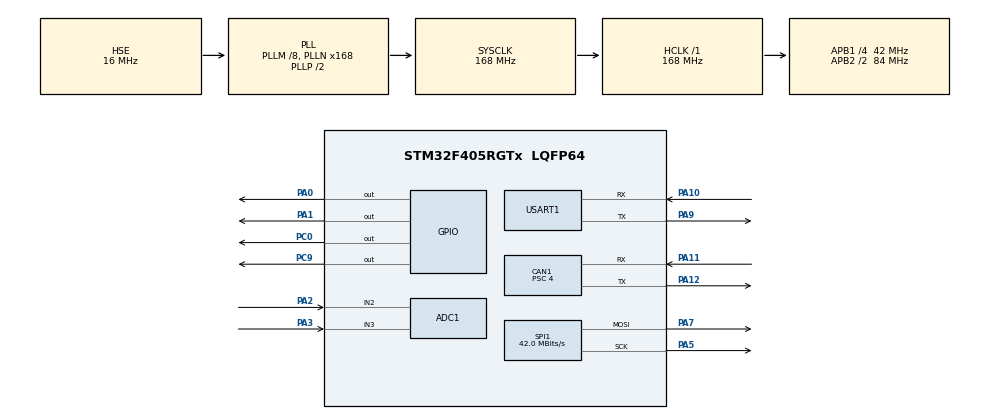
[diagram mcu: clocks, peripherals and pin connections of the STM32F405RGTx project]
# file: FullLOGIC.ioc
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ADC1.Channel-0\#ChannelRegularConversion=ADC_CHANNEL_2
ADC1.Channel-1\#ChannelRegularConversion=ADC_CHANNEL_3
ADC1.ContinuousConvMode=ENABLE
ADC1.DMAContinuousRequests=ENABLE
ADC1.NbrOfConversion=2
ADC1.NbrOfConversionFlag=1
ADC1.Rank-0\#ChannelRegularConversion=1
ADC1.Rank-1\#ChannelRegularConversion=2
ADC1.SamplingTime-0\#ChannelRegularConversion=ADC_SAMPLETIME_84CYCLES
ADC1.SamplingTime-1\#ChannelRegularConversion=ADC_SAMPLETIME_84CYCLES
ADC1.master=1
CAN1.BS1=CAN_BS1_16TQ
CAN1.BS2=CAN_BS2_4TQ
CAN1.CalculateBaudRate=500000
CAN1.CalculateTimeBit=2000
CAN1.CalculateTimeQuantum=95.23809523809524
CAN1.Prescaler=4
Dma.ADC1.0.Direction=DMA_PERIPH_TO_MEMORY
Dma.ADC1.0.FIFOMode=DMA_FIFOMODE_DISABLE
Dma.ADC1.0.Instance=DMA2_Stream0
Dma.ADC1.0.MemDataAlignment=DMA_MDATAALIGN_HALFWORD
Dma.ADC1.0.MemInc=DMA_MINC_ENABLE
Dma.ADC1.0.Mode=DMA_CIRCULAR
Dma.ADC1.0.PeriphDataAlignment=DMA_PDATAALIGN_HALFWORD
Dma.ADC1.0.PeriphInc=DMA_PINC_DISABLE
Dma.ADC1.0.Priority=DMA_PRIORITY_VERY_HIGH
Dma.Request0=ADC1
Mcu.Family=STM32F4
Mcu.Name=STM32F405RGTx
Mcu.Package=LQFP64
NVIC.ADC_IRQn=true\:0\:0\:false\:false\:true\:true\:true\:true
NVIC.CAN1_RX0_IRQn=true\:0\:0\:false\:false\:true\:true\:true\:true
NVIC.DMA2_Stream0_IRQn=true\:0\:0\:false\:false\:true\:false\:true\:true
NVIC.PriorityGroup=NVIC_PRIORITYGROUP_4
PA0-WKUP.Signal=GPIO_Output
PA1.Signal=GPIO_Output
PA10.Mode=Asynchronous
PA10.Signal=USART1_RX
PA11.Mode=CAN_Activate
PA11.Signal=CAN1_RX
PA12.Mode=CAN_Activate
PA12.Signal=CAN1_TX
PA2.Signal=ADCx_IN2
PA3.Signal=ADCx_IN3
PA5.Mode=TX_Only_Simplex_Unidirect_Master
PA5.Signal=SPI1_SCK
PA7.Mode=TX_Only_Simplex_Unidirect_Master
PA7.Signal=SPI1_MOSI
PA9.Mode=Asynchronous
PA9.Signal=USART1_TX
PC0.Signal=GPIO_Output
PC9.Signal=GPIO_Output
PH0-OSC_IN.Mode=HSE-External-Oscillator
PH0-OSC_IN.Signal=RCC_OSC_IN
PH1-OSC_OUT.Mode=HSE-External-Oscillator
PH1-OSC_OUT.Signal=RCC_OSC_OUT
ProjectManager.HeapSize=0x200
ProjectManager.StackSize=0x400
ProjectManager.TargetToolchain=STM32CubeIDE
RCC.48MHZClocksFreq_Value=84000000
RCC.AHBFreq_Value=168000000
RCC.APB1CLKDivider=RCC_HCLK_DIV4
RCC.APB1Freq_Value=42000000
RCC.APB1TimFreq_Value=84000000
RCC.APB2CLKDivider=RCC_HCLK_DIV2
RCC.APB2Freq_Value=84000000
RCC.APB2TimFreq_Value=168000000
RCC.CortexFreq_Value=168000000
RCC.HCLKFreq_Value=168000000
RCC.HSE_VALUE=16000000
RCC.HSI_VALUE=16000000
RCC.LSE_VALUE=32768
RCC.PLLM=8
RCC.PLLN=168
RCC.PLLSourceVirtual=RCC_PLLSOURCE_HSE
RCC.SYSCLKFreq_VALUE=168000000
RCC.SYSCLKSource=RCC_SYSCLKSOURCE_PLLCLK
RCC.VCOOutputFreq_Value=336000000
SH.ADCx_IN2.0=ADC1_IN2,IN2
SH.ADCx_IN3.0=ADC1_IN3,IN3
SPI1.CalculateBaudRate=42.0 MBits/s
SPI1.Direction=SPI_DIRECTION_2LINES
SPI1.Mode=SPI_MODE_MASTER
SPI1.VirtualType=VM_MASTER
USART1.VirtualMode=VM_ASYNC
board=custom

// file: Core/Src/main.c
/* USER CODE BEGIN Header */
/**
  ******************************************************************************
  * @file           : main.c
  * @brief          : Main program body
  ******************************************************************************
  * @attention
  *
  * Copyright (c) 2025 STMicroelectronics.
  * All rights reserved.
  *
  * This software is licensed under terms that can be found in the LICENSE file
  * in the root directory of this software component.
  * If no LICENSE file comes with this software, it is provided AS-IS.
  *
  ******************************************************************************
  */
/* USER CODE END Header */
#include "main.h"
#include <stdio.h>
#include <string.h>

/* USER CODE BEGIN PM */

// GPIO definitions
#define LED_PORT       GPIOC
#define LED_PIN        GPIO_PIN_0
#define DAC1_CS_PORT   GPIOA      //3
#define DAC1_CS_PIN    GPIO_PIN_0 //3
#define DAC2_CS_PORT   GPIOA	  //4
#define DAC2_CS_PIN    GPIO_PIN_1 //4
#define MUX_EN_PORT    GPIOC
#define MUX_EN_PIN     GPIO_PIN_9

// ADC Parameters
#define ADC_REF_VOLTAGE 3.3f
#define ADC_RESOLUTION  4095.0f

// DAC Parameters
#define DAC_REF_VOLTAGE 4.5f
#define DAC_RESOLUTION  4095.0f

// Speed amd CAN related parameters
#define SPEED_CAN_ID   		  0x7E8
#define SPEED_THRESHOLD_KMH   20
#define SPEED_FADE_RANGE_KMH  10

//Pedal processing parameters
#define VoltageRestoreFactor 2.0f
#define preproccsing_percent_current_voltage_Max 1.0f
#define preproccsing_percent_current_voltage_Min 0.0f

//Scaling Factor limits
#define Scale_Factor_Max 1.0f
#define Scale_Factor_Min 0.0f

//DAC BIAS
#define DACBIAS 1.3

/* USER CODE END PM */

ADC_HandleTypeDef hadc1;
DMA_HandleTypeDef hdma_adc1;

CAN_HandleTypeDef hcan1;

SPI_HandleTypeDef hspi1;

UART_HandleTypeDef huart1;

/* USER CODE BEGIN PV */
// CAN reception
CAN_RxHeaderTypeDef RxHeader;
uint8_t RxData[8];
volatile uint16_t CarSpeed = 0;
volatile uint32_t lastCanMsgTick = 0;

// UART buffer
char uartBuffer[100];

// ADC raw values
volatile uint16_t adc_buf[2];

// Pedal channel limits
float PEDAL_CH1_VMIN = 1.56f;  // (IN4)
float PEDAL_CH1_VMAX = 4.435f; // (IN4)
float PEDAL_CH2_VMIN = 0.769f; // (IN3)
float PEDAL_CH2_VMAX = 3.644f; // (IN3)
/* USER CODE END PV */

void SystemClock_Config(void);
static void MX_GPIO_Init(void);
static void MX_DMA_Init(void);
static void MX_ADC1_Init(void);
static void MX_CAN1_Init(void);
static void MX_SPI1_Init(void);
static void MX_USART1_UART_Init(void);
/* USER CODE BEGIN PFP */
void CAN_Filter_Config(void);
void ProcessSpeedMessage(CAN_RxHeaderTypeDef *rxHeader, uint8_t *rxData);
void UART_SendString(char *str);
/* USER CODE END PFP */

/* USER CODE BEGIN 0 */

// CAN Messages filter
void CAN_Filter_Config(void)
{
	UART_SendString("1\r\n");
    CAN_FilterTypeDef sFilterConfig;

    // Configure filter for speed messages only
    sFilterConfig.FilterBank = 0;                           // Use filter bank 0
    sFilterConfig.FilterMode = CAN_FILTERMODE_IDMASK;       // Use ID + Mask mode
    sFilterConfig.FilterScale = CAN_FILTERSCALE_32BIT;      // 32-bit filter
    sFilterConfig.FilterIdHigh = (SPEED_CAN_ID << 5);       //
    sFilterConfig.FilterIdLow = 0x0000;
    sFilterConfig.FilterMaskIdHigh = (0x7FF << 5);          // Mask for exact ID match (standard 11-bit ID)
    sFilterConfig.FilterMaskIdLow = 0x0000;
    sFilterConfig.FilterFIFOAssignment = CAN_RX_FIFO0;      // Assign to FIFO0
    sFilterConfig.FilterActivation = ENABLE;                // Enable the filter

    // Apply filter configuration
    if (HAL_CAN_ConfigFilter(&hcan1, &sFilterConfig) != HAL_OK)
    {
        Error_Handler();
    }
    UART_SendString("2\r\n");
}

// OBD-II PID Speed Request
void RequestSpeed(){

	CAN_TxHeaderTypeDef TxHeader;
	uint8_t TxData[8] = {0x02, 0x01, 0x0D, 0x00, 0x00, 0x00, 0x00, 0x00};
	uint32_t TxMailbox;

	TxHeader.StdId = 0x7DF;
	TxHeader.ExtId = 0x00;
	TxHeader.IDE = CAN_ID_STD;
	TxHeader.RTR = CAN_RTR_DATA;
	TxHeader.DLC = 8;

    if (HAL_CAN_AddTxMessage(&hcan1, &TxHeader, TxData, &TxMailbox) != HAL_OK)
    {
        Error_Handler();
    }

}

// Speed extraction
void ProcessSpeedMessage(CAN_RxHeaderTypeDef *rxHeader, uint8_t *rxData)
{
	if (rxHeader->StdId == SPEED_CAN_ID) {
		CarSpeed = rxData[3];
        // Format message for UART
        snprintf(uartBuffer, sizeof(uartBuffer),
                "Message Received!\r\nID: 0x%03lX\r\nData: %02X %02X %02X %02X %02X %02X %02X %02X\r\n\r\n Speed:%02X\r\n",
                rxHeader->StdId,
                rxData[0], rxData[1], rxData[2], rxData[3],
                rxData[4], rxData[5], rxData[6], rxData[7],
				rxData[3]);

        // Send to UART
        UART_SendString(uartBuffer);

	}

}

//CAN Response upon interrupt callback
void HAL_CAN_RxFifo0MsgPendingCallback(CAN_HandleTypeDef *hcan)
{

    if (HAL_CAN_GetRxMessage(hcan, CAN_RX_FIFO0, &RxHeader, RxData) == HAL_OK)
    {
        ProcessSpeedMessage(&RxHeader, RxData);

    }
}

// Write 12-bit value to DAC via SPI
void DAC_Write(GPIO_TypeDef *cs_port, uint16_t cs_pin, uint16_t value)
{
    value &= 0x0FFF;    // ensure 12-bit value
    uint16_t word = value | (0x0 << 12); // DAC121S101 expects data in lower 12 bits

    uint8_t data[2];
    data[0] = (word >> 8) & 0xFF;
    data[1] = word & 0xFF;

    HAL_GPIO_WritePin(cs_port, cs_pin, GPIO_PIN_RESET); // CS LOW
    HAL_SPI_Transmit(&hspi1, data, 2, HAL_MAX_DELAY);
    snprintf(uartBuffer, sizeof(uartBuffer),
             "DAC%d Write: Code=%u | data[0] = %X  | data[1] = %X  \r\n\n",
             (cs_pin == DAC1_CS_PIN) ? 1 : 2,
             value, data[0], data[1]);
    UART_SendString(uartBuffer);

    HAL_GPIO_WritePin(cs_port, cs_pin, GPIO_PIN_SET);
}

//Function to test DAC stand-alone
/*void TestDAC(void) {

    // Test DAC1
    DAC_Write(DAC2_CS_PORT, DAC2_CS_PIN, 2048);  // ~50%   BLACK (MIDDLE) is DAC2 - OUT4
    DAC_Write(DAC1_CS_PORT, DAC1_CS_PIN, 4095);  // ~100%  WHITE (SIDE)   is DAC1 - OUT3

}*/

// Convert ADC value to normalized pedal percentage
float ReadPedalPercent(uint16_t adc_value, float voltage_min, float voltage_max){

	float preproccsing_current_voltage_divided = ((float)adc_value / ADC_RESOLUTION)*ADC_REF_VOLTAGE;
	float preproccsing_current_voltage = preproccsing_current_voltage_divided * VoltageRestoreFactor; //To restore what voltage divider effect
	float preproccsing_percent_current_voltage = (preproccsing_current_voltage - voltage_min) / (voltage_max - voltage_min);

	snprintf(uartBuffer, sizeof(uartBuffer),
	         "ADC(code)=%u | Vin(raw)=%.2f V | Vin(restored)=%.2f V | Percent=%.8f%%\r\n\n",
	         adc_value,
			 preproccsing_current_voltage_divided,
	         preproccsing_current_voltage,
	         preproccsing_percent_current_voltage);
	UART_SendString(uartBuffer);

	//CLAMPING
    // if (preproccsing_percent_current_voltage <preproccsing_percent_current_voltage_Min) preproccsing_percent_current_voltage = preproccsing_percent_current_voltage_Min;
    // if (preproccsing_percent_current_voltage > preproccsing_percent_current_voltage_Max) preproccsing_percent_current_voltage = preproccsing_percent_current_voltage_Max;

    return preproccsing_percent_current_voltage;
}

// Convert pedal percentage to DAC output code
uint16_t PercentToDACValue(float percent, float voltage_min, float voltage_max) {

    float afterprocessing_voltage = voltage_min + (percent * (voltage_max - voltage_min)); //Percentage to voltage
    uint16_t dac_value = (uint16_t)((afterprocessing_voltage / DAC_REF_VOLTAGE) * DAC_RESOLUTION); //DAC expects digital value - Vref is 4.5 V

    snprintf(uartBuffer, sizeof(uartBuffer),
             "Attenuated=%.2f%% | Vout=%.2f V | DAC Code=%u\r\n\n",
             percent,
             afterprocessing_voltage,
             dac_value);
    UART_SendString(uartBuffer);

    //CLAMPING
    // if (dac_value > ADC_RESOLUTION ) dac_value = ADC_RESOLUTION ;
    return dac_value;
}

// Apply pedal attenuation based on vehicle speed
void AttenuationFunction(void){
	float scale_factor;
	float percent1, percent2, output_percent1, output_percent2;

	percent1 = ReadPedalPercent(adc_buf[0], PEDAL_CH1_VMIN, PEDAL_CH1_VMAX); // 4 //Converts the raw value from adc to percentage
	percent2 = ReadPedalPercent(adc_buf[1], PEDAL_CH2_VMIN, PEDAL_CH2_VMAX); // 3 //Converts the raw value from adc to percentage

    if(CarSpeed >= SPEED_THRESHOLD_KMH) {
    	HAL_GPIO_WritePin(MUX_EN_PORT, MUX_EN_PIN, GPIO_PIN_SET);
        float overspeed = CarSpeed - SPEED_THRESHOLD_KMH;

        scale_factor = Scale_Factor_Max - (overspeed / (float)SPEED_FADE_RANGE_KMH);

        	if (scale_factor < Scale_Factor_Min) scale_factor = Scale_Factor_Min;

        output_percent1 = percent1 * scale_factor;

        output_percent2 = percent2 * scale_factor;

    } else {
    	HAL_GPIO_WritePin(MUX_EN_PORT, MUX_EN_PIN, GPIO_PIN_RESET);
        //output_percent1 = percent1; //4

        //output_percent2 = percent2; //3

    }

    snprintf(uartBuffer, sizeof(uartBuffer),
              "P1 In:%.8f Out (4):%.8f | P2 In:%.8f Out (3):%.8f\r\n",
              percent1, output_percent1, percent2, output_percent2);
    UART_SendString(uartBuffer);

    uint16_t dac_value_1 = PercentToDACValue(output_percent1, PEDAL_CH1_VMIN, PEDAL_CH1_VMAX); //Converts percentage back to analog //4
    uint16_t dac_value_2 = PercentToDACValue(output_percent2, PEDAL_CH2_VMIN, PEDAL_CH2_VMAX); //Converts percentage back to analog //3

    snprintf(uartBuffer, sizeof(uartBuffer),
              "DAC_VALUE1:%u | DAC_VALUE2:%u\r\n",
			  dac_value_1, dac_value_2);
    UART_SendString(uartBuffer);

    DAC_Write(DAC2_CS_PORT, DAC2_CS_PIN, dac_value_1); // dac2_cs_port for dac_value_1 - in4 - out4 - ch1 //4
    DAC_Write(DAC1_CS_PORT, DAC1_CS_PIN, dac_value_2); // dac1_cs_port for dac_value_2 - in3 - out3 - ch2 //3

}

void UART_SendString(char *str)
{
    HAL_UART_Transmit(&huart1, (uint8_t*)str, strlen(str), HAL_MAX_DELAY);
}

/* USER CODE END 0 */

int main(void)
{

  /* MCU Configuration--------------------------------------------------------*/

  /* Reset of all peripherals, Initializes the Flash interface and the Systick. */
  HAL_Init();

  /* Configure the system clock */
  SystemClock_Config();

  /* Initialize all configured peripherals */
  MX_GPIO_Init();
  HAL_GPIO_WritePin(LED_PORT, LED_PIN, GPIO_PIN_SET);
  MX_DMA_Init();
  MX_ADC1_Init();
  MX_CAN1_Init();
  MX_SPI1_Init();
  MX_USART1_UART_Init();
  /* USER CODE BEGIN 2 */
  CAN_Filter_Config();

  if (HAL_CAN_Start(&hcan1) != HAL_OK) //Starts CAN peripheral
  {
      Error_Handler();
  }

  if (HAL_CAN_ActivateNotification(&hcan1, CAN_IT_RX_FIFO0_MSG_PENDING) != HAL_OK) //Enable interrupts
  {
      Error_Handler();
  }
  HAL_GPIO_WritePin(MUX_EN_PORT, MUX_EN_PIN, GPIO_PIN_SET);
  HAL_GPIO_WritePin(DAC1_CS_PORT, DAC1_CS_PIN, GPIO_PIN_SET);
  HAL_GPIO_WritePin(DAC2_CS_PORT, DAC2_CS_PIN, GPIO_PIN_SET);
  UART_SendString("Befor ADC dual channel Config\r\n");

  HAL_ADC_Start_DMA(&hadc1, (uint32_t*)adc_buf, 2);
  UART_SendString("After ADC dual channel Config\r\n");

  /* USER CODE END 2 */

  /* Infinite loop */
  while (1)
  {
	  	//TestDAC();
		RequestSpeed();
		HAL_Delay(100); //Sending too fast causes STM CAN to fault out.
	    //Check if CAN messages stopped coming
		/*if (HAL_GetTick() - lastCanMsgTick > 500)  // 500ms timeout
		{
		    CarSpeed = 0;   // fallback to 0 km/h
		}*/

		AttenuationFunction();
  }
}

void SystemClock_Config(void)
{
  RCC_OscInitTypeDef RCC_OscInitStruct = {0};
  RCC_ClkInitTypeDef RCC_ClkInitStruct = {0};

  /** Configure the main internal regulator output voltage
  */
  __HAL_RCC_PWR_CLK_ENABLE();
  __HAL_PWR_VOLTAGESCALING_CONFIG(PWR_REGULATOR_VOLTAGE_SCALE1);

  /** Initializes the RCC Oscillators according to the specified parameters
  * in the RCC_OscInitTypeDef structure.
  */
  RCC_OscInitStruct.OscillatorType = RCC_OSCILLATORTYPE_HSE;
  RCC_OscInitStruct.HSEState = RCC_HSE_ON;
  RCC_OscInitStruct.PLL.PLLState = RCC_PLL_ON;
  RCC_OscInitStruct.PLL.PLLSource = RCC_PLLSOURCE_HSE;
  RCC_OscInitStruct.PLL.PLLM = 8;
  RCC_OscInitStruct.PLL.PLLN = 168;
  RCC_OscInitStruct.PLL.PLLP = RCC_PLLP_DIV2;
  RCC_OscInitStruct.PLL.PLLQ = 4;
  if (HAL_RCC_OscConfig(&RCC_OscInitStruct) != HAL_OK)
  {
    Error_Handler();
  }

  /** Initializes the CPU, AHB and APB buses clocks
  */
  RCC_ClkInitStruct.ClockType = RCC_CLOCKTYPE_HCLK|RCC_CLOCKTYPE_SYSCLK
                              |RCC_CLOCKTYPE_PCLK1|RCC_CLOCKTYPE_PCLK2;
  RCC_ClkInitStruct.SYSCLKSource = RCC_SYSCLKSOURCE_PLLCLK;
  RCC_ClkInitStruct.AHBCLKDivider = RCC_SYSCLK_DIV1;
  RCC_ClkInitStruct.APB1CLKDivider = RCC_HCLK_DIV4;
  RCC_ClkInitStruct.APB2CLKDivider = RCC_HCLK_DIV2;

  if (HAL_RCC_ClockConfig(&RCC_ClkInitStruct, FLASH_LATENCY_5) != HAL_OK)
  {
    Error_Handler();
  }
}

static void MX_ADC1_Init(void)
{

  ADC_ChannelConfTypeDef sConfig = {0};

  /** Configure the global features of the ADC (Clock, Resolution, Data Alignment and number of conversion)
  */
  hadc1.Instance = ADC1;
  hadc1.Init.ClockPrescaler = ADC_CLOCK_SYNC_PCLK_DIV4;
  hadc1.Init.Resolution = ADC_RESOLUTION_12B;
  hadc1.Init.ScanConvMode = ENABLE;
  hadc1.Init.ContinuousConvMode = ENABLE;
  hadc1.Init.DiscontinuousConvMode = DISABLE;
  hadc1.Init.ExternalTrigConvEdge = ADC_EXTERNALTRIGCONVEDGE_NONE;
  hadc1.Init.ExternalTrigConv = ADC_SOFTWARE_START;
  hadc1.Init.DataAlign = ADC_DATAALIGN_RIGHT;
  hadc1.Init.NbrOfConversion = 2;
  hadc1.Init.DMAContinuousRequests = ENABLE;
  hadc1.Init.EOCSelection = ADC_EOC_SINGLE_CONV;
  if (HAL_ADC_Init(&hadc1) != HAL_OK)
  {
    Error_Handler();
  }

  /** Configure for the selected ADC regular channel its corresponding rank in the sequencer and its sample time.
  */
  sConfig.Channel = ADC_CHANNEL_2;
  sConfig.Rank = 1;
  sConfig.SamplingTime = ADC_SAMPLETIME_84CYCLES;
  if (HAL_ADC_ConfigChannel(&hadc1, &sConfig) != HAL_OK)
  {
    Error_Handler();
  }

  /** Configure for the selected ADC regular channel its corresponding rank in the sequencer and its sample time.
  */
  sConfig.Channel = ADC_CHANNEL_3;
  sConfig.Rank = 2;
  if (HAL_ADC_ConfigChannel(&hadc1, &sConfig) != HAL_OK)
  {
    Error_Handler();
  }

}

static void MX_CAN1_Init(void)
{

  hcan1.Instance = CAN1;
  hcan1.Init.Prescaler = 4;
  hcan1.Init.Mode = CAN_MODE_NORMAL;
  hcan1.Init.SyncJumpWidth = CAN_SJW_1TQ;
  hcan1.Init.TimeSeg1 = CAN_BS1_16TQ;
  hcan1.Init.TimeSeg2 = CAN_BS2_4TQ;
  hcan1.Init.TimeTriggeredMode = DISABLE;
  hcan1.Init.AutoBusOff = DISABLE;
  hcan1.Init.AutoWakeUp = DISABLE;
  hcan1.Init.AutoRetransmission = DISABLE;
  hcan1.Init.ReceiveFifoLocked = DISABLE;
  hcan1.Init.TransmitFifoPriority = DISABLE;
  if (HAL_CAN_Init(&hcan1) != HAL_OK)
  {
    Error_Handler();
  }

}

static void MX_SPI1_Init(void)
{

  /* SPI1 parameter configuration*/
  hspi1.Instance = SPI1;
  hspi1.Init.Mode = SPI_MODE_MASTER;
  hspi1.Init.Direction = SPI_DIRECTION_2LINES;
  hspi1.Init.DataSize = SPI_DATASIZE_8BIT;
  hspi1.Init.CLKPolarity = SPI_POLARITY_LOW;
  hspi1.Init.CLKPhase = SPI_PHASE_1EDGE;
  hspi1.Init.NSS = SPI_NSS_SOFT;
  hspi1.Init.BaudRatePrescaler = SPI_BAUDRATEPRESCALER_2;
  hspi1.Init.FirstBit = SPI_FIRSTBIT_MSB;
  hspi1.Init.TIMode = SPI_TIMODE_DISABLE;
  hspi1.Init.CRCCalculation = SPI_CRCCALCULATION_DISABLE;
  hspi1.Init.CRCPolynomial = 10;
  if (HAL_SPI_Init(&hspi1) != HAL_OK)
  {
    Error_Handler();
  }

}

static void MX_USART1_UART_Init(void)
{

  huart1.Instance = USART1;
  huart1.Init.BaudRate = 115200;
  huart1.Init.WordLength = UART_WORDLENGTH_8B;
  huart1.Init.StopBits = UART_STOPBITS_1;
  huart1.Init.Parity = UART_PARITY_NONE;
  huart1.Init.Mode = UART_MODE_TX_RX;
  huart1.Init.HwFlowCtl = UART_HWCONTROL_NONE;
  huart1.Init.OverSampling = UART_OVERSAMPLING_16;
  if (HAL_UART_Init(&huart1) != HAL_OK)
  {
    Error_Handler();
  }

}

static void MX_DMA_Init(void)
{

  /* DMA controller clock enable */
  __HAL_RCC_DMA2_CLK_ENABLE();

  /* DMA interrupt init */
  /* DMA2_Stream0_IRQn interrupt configuration */
  HAL_NVIC_SetPriority(DMA2_Stream0_IRQn, 0, 0);
  HAL_NVIC_EnableIRQ(DMA2_Stream0_IRQn);

}

static void MX_GPIO_Init(void)
{
  GPIO_InitTypeDef GPIO_InitStruct = {0};

  /* GPIO Ports Clock Enable */
  __HAL_RCC_GPIOH_CLK_ENABLE();
  __HAL_RCC_GPIOC_CLK_ENABLE();
  __HAL_RCC_GPIOA_CLK_ENABLE();

  /*Configure GPIO pin Output Level */
  HAL_GPIO_WritePin(GPIOC, GPIO_PIN_0|GPIO_PIN_9, GPIO_PIN_RESET);

  /*Configure GPIO pin Output Level */
  HAL_GPIO_WritePin(GPIOA, GPIO_PIN_0|GPIO_PIN_1, GPIO_PIN_RESET);

  /*Configure GPIO pins : PC0 PC9 */
  GPIO_InitStruct.Pin = GPIO_PIN_0|GPIO_PIN_9;
  GPIO_InitStruct.Mode = GPIO_MODE_OUTPUT_PP;
  GPIO_InitStruct.Pull = GPIO_NOPULL;
  GPIO_InitStruct.Speed = GPIO_SPEED_FREQ_LOW;
  HAL_GPIO_Init(GPIOC, &GPIO_InitStruct);

  /*Configure GPIO pins : PA0 PA1 */
  GPIO_InitStruct.Pin = GPIO_PIN_0|GPIO_PIN_1;
  GPIO_InitStruct.Mode = GPIO_MODE_OUTPUT_PP;
  GPIO_InitStruct.Pull = GPIO_NOPULL;
  GPIO_InitStruct.Speed = GPIO_SPEED_FREQ_LOW;
  HAL_GPIO_Init(GPIOA, &GPIO_InitStruct);

}

void Error_Handler(void)
{
  __disable_irq();
  while (1)
  {
  }
}
